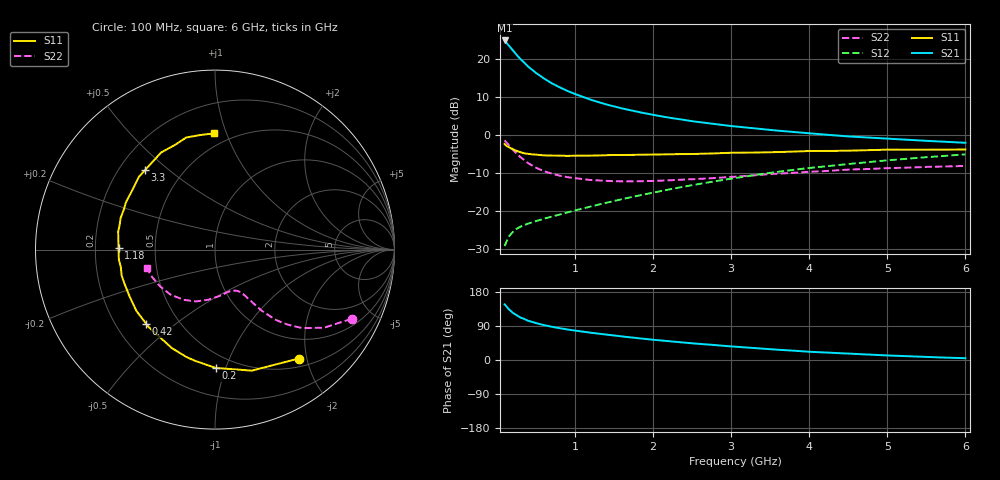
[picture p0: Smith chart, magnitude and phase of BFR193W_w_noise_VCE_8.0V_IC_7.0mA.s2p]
! Infineon Technologies  Discrete & RF Semiconductors
! BFR193W
! VCE =  8.0 V,  IC =  7.0 mA
! Common Emitter S-Parameters:  Nov 2015
# GHz  S  MA  R  50
!  f  S11  S21  S12  S22
! GHz  MAG  ANG  MAG  ANG  MAG  ANG  MAG  ANG
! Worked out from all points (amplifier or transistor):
!   192 points, 100 MHz to 6 GHz, reference 50 ohm
!   highest |S21| = 24.9 dB at 100 MHz (marker M1)
!   |S21| within 3 dB of that: start of sweep to 221.8 MHz
!   unconditionally stable (mu >= 1): 1.141 GHz to 2.606 GHz
!   at 440 MHz: K = 0.60, MSG = 20.2 dB, |S12| = -23.0 dB
!   at 1.7 GHz: K = 1.05, MAG = 10.1 dB, |S12| = -16.4 dB
!   at 6 GHz: K = 0.88, MSG = 1.5 dB, |S12| = -5.1 dB
!   lowest NFmin = 1.20 dB at 450 MHz
!   S11 on the Smith chart (normalised r, x): 100 MHz: 0.63, -1.86; 200 MHz: 0.40, -0.92; 420 MHz: 0.33, -0.40; 1.18 GHz: 0.30, +0.01; 3.3 GHz: 0.31, +0.42; 6 GHz: 0.41, +0.90
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0.1  0.765 -52.5  17.57 146.9  0.0347 65.0  0.8528 -26.9
0.15  0.7049 -73.1  15.26 134.6  0.0456 57.3  0.7464 -35.7
0.2  0.6592 -89.7  13.22 125.2  0.0529 51.9  0.6539 -42.0
0.24  0.6296 -100.2  11.81 119.7  0.0572 49.4  0.5902 -45.4
0.26  0.6187 -105.1  11.18 117.1  0.0591 48.4  0.563 -46.9
0.3  0.5989 -113.7  10.07 112.3  0.0624 46.8  0.5165 -49.2
0.4  0.5681 -130.6  7.988 103.6  0.0686 45.6  0.4289 -52.6
0.42  0.5637 -132.9  7.701 102.5  0.0697 45.7  0.4178 -52.9
0.5  0.5552 -142.1  6.586 97.3  0.0739 46.1  0.3737 -54.3
0.6  0.5429 -151.2  5.589 92.2  0.0796 47.2  0.3363 -55.8
0.7  0.5392 -158.4  4.827 87.8  0.0847 48.8  0.3117 -56.6
0.9  0.5336 -169.7  3.82 80.6  0.0962 52.2  0.2803 -58.5
1.1  0.537 -177.8  3.195 75.0  0.1087 55.0  0.2644 -61.2
1.18  0.5374 179.1  2.977 72.6  0.1138 55.9  0.2585 -62.4
1.6  0.5478 166.6  2.249 62.1  0.1437 59.8  0.2467 -69.3
2.08  0.5574 154.5  1.787 52.0  0.1823 61.9  0.2518 -78.9
2.5  0.5647 146.0  1.525 44.0  0.2193 62.1  0.263 -87.2
3.1  0.5872 134.7  1.286 34.4  0.2778 60.3  0.2867 -100.8
3.3  0.5903 131.3  1.226 31.5  0.2988 59.1  0.2964 -105.8
4.1  0.619 117.3  1.036 20.9  0.3792 53.4  0.333 -124.6
5.1  0.6438 103.0  0.886 11.2  0.4755 44.9  0.37 -148.2
6  0.6476 90.6  0.793 4.7  0.5587 36.2  0.394 -164.6
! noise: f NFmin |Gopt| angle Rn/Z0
0.45  1.2  0.24  125  0.12
0.9  1.25  0.36  154  0.11
1.8  2  0.55  -156  0.13
